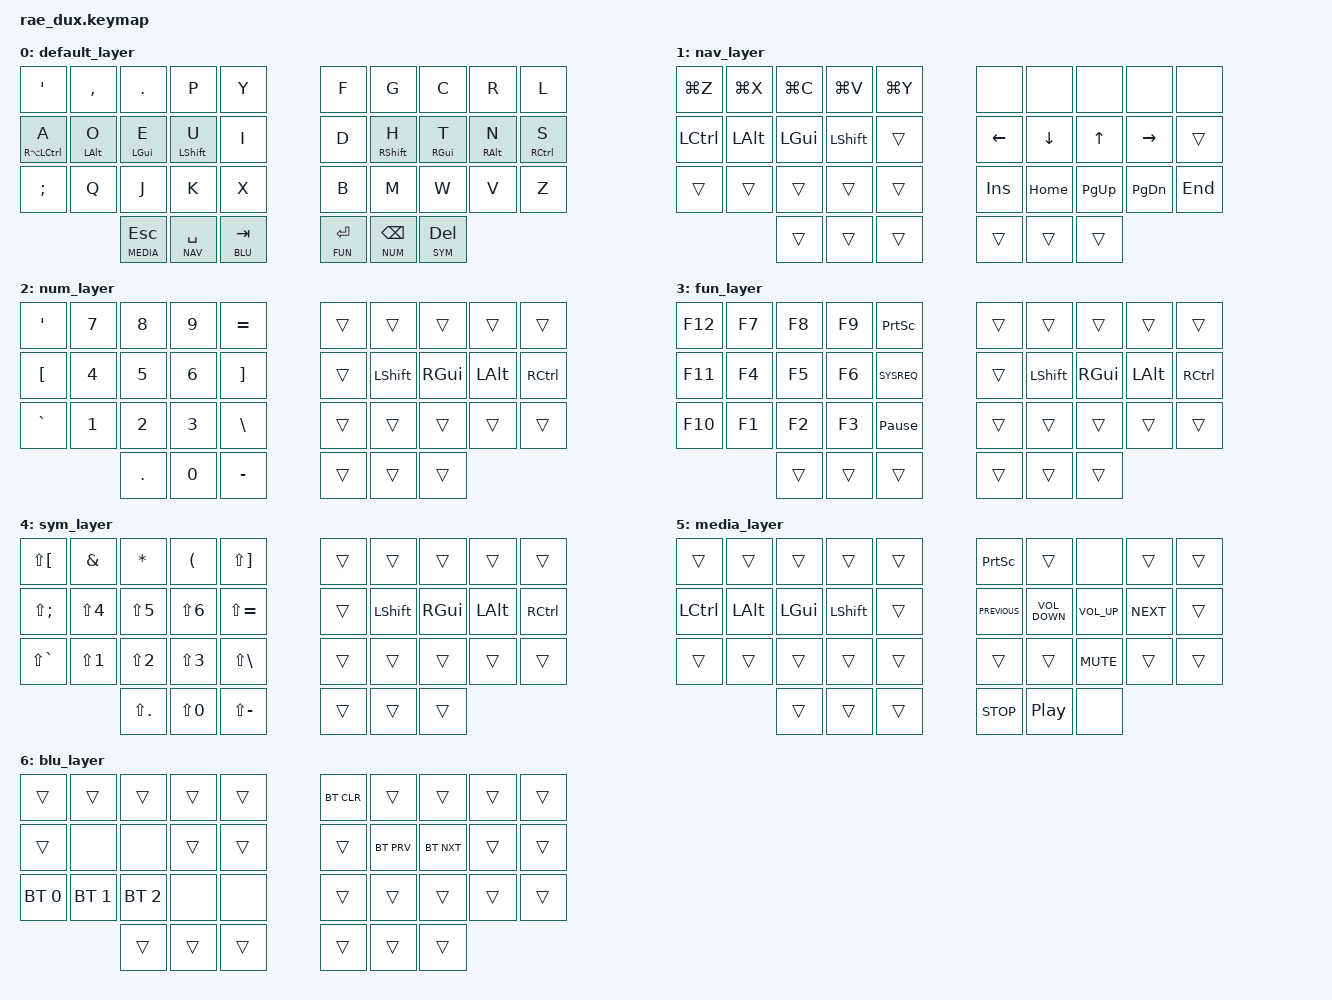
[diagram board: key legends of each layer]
#include <behaviors.dtsi>
#include <dt-bindings/zmk/bt.h>
#include <dt-bindings/zmk/keys.h>

#define BASE 0
#define NAV  1
#define NUM  2
#define FUN  3
#define SYM  4
#define MEDIA  5
#define BLU 6

/*                KEY POSITIONS

          ╭────────────────────╮ ╭────────────────────╮
          │  0   1   2   3   4 │ │  5   6   7   8   9 │
          │ 10  11  12  13  14 │ │ 15  16  17  18  19 │
          │ 20  21  22  23  24 │ │ 25  26  27  28  29 │
          ╰───────╮ 30  31  32 │ │ 33  34  35 ╭───────╯
                  ╰────────────╯ ╰────────────╯        */

&mt {
    quick-tap-ms = <100>;
    global-quick-tap;
    flavor = "tap-preferred";
    tapping-term-ms = <180>;
};

/ {
    combos {
        compatible = "zmk,combos";

        leftParet {
            bindings = <&kp LEFT_PARENTHESIS>;
            key-positions = <6 7>;
            layers = <0>;
        };

        rightParet {
            bindings = <&kp RIGHT_PARENTHESIS>;
            key-positions = <7 8>;
            layers = <0>;
        };

        minusCombo {
            bindings = <&kp MINUS>;
            key-positions = <31 34>;
            layers = <0>;
        };

        capslock {
            bindings = <&caps_word>;
            key-positions = <4 5>;
            layers = <0>;
        };

        undo {
            bindings = <&kp LG(Z)>;
            key-positions = <22 21>;
            layers = <0>;
            timeout-ms = <40>;
        };

        redo {
            bindings = <&kp LG(Y)>;
            key-positions = <23 22>;
            layers = <0>;
            timeout-ms = <40>;
        };

        printscreen {
            bindings = <&kp LG(LS(N5))>;
            key-positions = <1 2 3>;
            layers = <0>;
            timeout-ms = <40>;
        };
    };

    behaviors {
        rht: repeatHoldTap {
            compatible = "zmk,behavior-hold-tap";
            label = "REPEATHOLDTAP";
            bindings = <&mo>, <&kp>;

            #binding-cells = <2>;
            flavor = "tap-preferred";
            tapping-term-ms = <150>;
            quick-tap-ms = <200>;
        };
    };

    keymap {
        compatible = "zmk,keymap";

        default_layer {
            bindings = <
&kp SINGLE_QUOTE        &kp COMMA   &kp DOT     &kp P        &kp Y                                                                     &kp F        &kp G        &kp C       &kp R       &kp L
&mt RA(LEFT_CONTROL) A  &mt LALT O  &mt LGUI E  &mt LSHFT U  &kp I                                                                     &kp D        &mt RSHFT H  &mt RGUI T  &mt RALT N  &mt RIGHT_CONTROL S
&kp SEMICOLON           &kp Q       &kp J       &kp K        &kp X                                                                     &kp B        &kp M        &kp W       &kp V       &kp Z
                                                             &lt MEDIA ESC  &rht NAV SPACE  &lt BLU TAB    &lt FUN RET  &rht NUM BSPC  &lt SYM DEL
            >;
        };

        nav_layer {
            bindings = <
&kp LG(Z)         &kp LG(X)  &kp LG(C)     &kp LG(V)  &kp LG(Y)                                    &none           &none           &none         &none      &none
&kp LEFT_CONTROL  &kp LALT   &kp LEFT_GUI  &kp LSHFT  &trans                                       &kp LEFT_ARROW  &kp DOWN_ARROW  &kp UP_ARROW  &kp RIGHT  &trans
&trans            &trans     &trans        &trans     &trans                                       &kp INSERT      &kp HOME        &kp PG_UP     &kp PG_DN  &kp END
                                                      &trans     &trans  &trans    &trans  &trans  &trans
            >;
        };

        num_layer {
            bindings = <
&kp APOSTROPHE    &kp N7  &kp N8  &kp N9  &kp EQUAL                                               &trans  &trans     &trans         &trans    &trans
&kp LEFT_BRACKET  &kp N4  &kp N5  &kp N6  &kp RIGHT_BRACKET                                       &trans  &kp LSHFT  &kp RIGHT_GUI  &kp LALT  &kp RIGHT_CONTROL
&kp GRAVE         &kp N1  &kp N2  &kp N3  &kp BSLH                                                &trans  &trans     &trans         &trans    &trans
                                          &kp PERIOD         &kp N0  &kp MINUS    &trans  &trans  &trans
            >;
        };

        fun_layer {
            bindings = <
&kp F12  &kp F7  &kp F8  &kp F9  &kp PSCRN                                          &trans  &trans     &trans         &trans    &trans
&kp F11  &kp F4  &kp F5  &kp F6  &kp SYSREQ                                         &trans  &kp LSHFT  &kp RIGHT_GUI  &kp LALT  &kp RIGHT_CONTROL
&kp F10  &kp F1  &kp F2  &kp F3  &kp PAUSE_BREAK                                    &trans  &trans     &trans         &trans    &trans
                                 &trans           &trans  &trans    &trans  &trans  &trans
            >;
        };

        sym_layer {
            bindings = <
&kp LS(LBKT)   &kp AMPERSAND  &kp ASTRK   &kp LEFT_PARENTHESIS  &kp LS(RBKT)                                                 &trans  &trans     &trans    &trans    &trans
&kp LS(SEMI)   &kp LS(N4)     &kp LS(N5)  &kp LS(N6)            &kp LS(EQUAL)                                                &trans  &kp LSHFT  &kp RGUI  &kp LALT  &kp RIGHT_CONTROL
&kp LS(GRAVE)  &kp LS(N1)     &kp LS(N2)  &kp LS(N3)            &kp LS(BSLH)                                                 &trans  &trans     &trans    &trans    &trans
                                                                &kp LS(PERIOD)  &kp LS(N0)  &kp LS(MINUS)    &trans  &trans  &trans
            >;
        };

        media_layer {
            bindings = <
&trans            &trans    &trans        &trans     &trans                                                  &kp PRINTSCREEN  &trans             &none            &trans      &trans
&kp LEFT_CONTROL  &kp LALT  &kp LEFT_GUI  &kp LSHFT  &trans                                                  &kp C_PREVIOUS   &kp C_VOLUME_DOWN  &kp C_VOLUME_UP  &kp C_NEXT  &trans
&trans            &trans    &trans        &trans     &trans                                                  &trans           &trans             &kp C_MUTE       &trans      &trans
                                                     &trans  &trans  &trans    &kp C_STOP  &kp C_PLAY_PAUSE  &none
            >;
        };

        blu_layer {
            bindings = <
&trans        &trans        &trans        &trans  &trans                                    &bt BT_CLR  &trans      &trans      &trans  &trans
&trans        &none         &none         &trans  &trans                                    &trans      &bt BT_PRV  &bt BT_NXT  &trans  &trans
&bt BT_SEL 0  &bt BT_SEL 1  &bt BT_SEL 2  &none   &none                                     &trans      &trans      &trans      &trans  &trans
                                                  &trans  &trans  &trans    &trans  &trans  &trans
            >;
        };
    };
};
